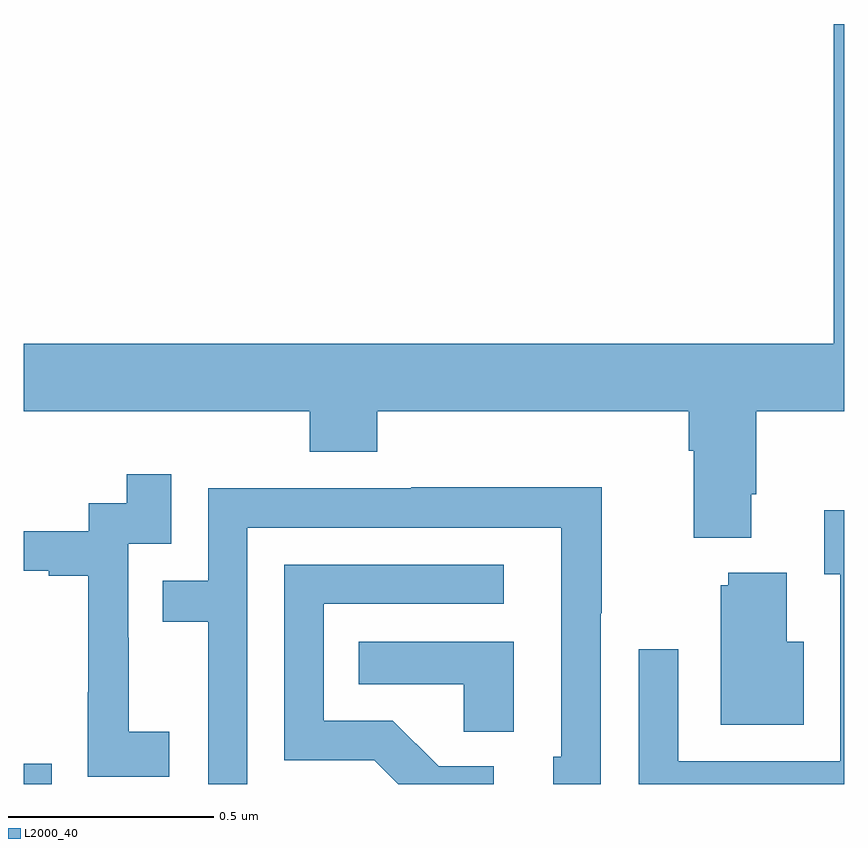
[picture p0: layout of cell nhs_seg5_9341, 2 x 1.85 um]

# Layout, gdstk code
import gdstk
lib = gdstk.Library(unit=1e-6, precision=1e-09)
def R(c, l, rs):  # rectangles x0, y0, x1, y1
    for r in rs: c.add(gdstk.rectangle(r[:2], r[2:], *l))
def P(c, l, *ps):  # polygons
    for p in ps: c.add(gdstk.Polygon(p, *l))
L2000_40 = (2000, 40)

nhs_seg5_9341 = lib.new_cell('nhs_seg5_9341')
R(nhs_seg5_9341, L2000_40, [(232,907.799,232.068,907.848)])
P(nhs_seg5_9341, L2000_40, [(233.773,908.506),(233.786,908.506),(233.786,908.708),(234,908.708),(234,909.652),(233.975,909.652),(233.975,908.872),(232,908.872),(232,908.708),(232.697,908.708),(232.697,908.609),(232.862,908.609),(232.862,908.708),(233.621,908.708),(233.621,908.612),(233.633,908.612),(233.633,908.399),(233.773,908.399)],
  [(232.354,907.927),(232.256,907.927),(232.256,908.156),(232.254,908.156),(232.254,908.385),(232.359,908.385),(232.359,908.554),(232.251,908.554),(232.251,908.484),(232.158,908.484),(232.158,908.415),(232,908.415),(232,908.319),(232.061,908.319),(232.061,908.307),(232.157,908.307),(232.157,908.023),(232.156,908.023),(232.156,907.817),(232.354,907.817)],
  [(232.545,908.424),(233.31,908.424),(233.31,907.866),(233.291,907.866),(233.291,907.799),(233.406,907.799),(233.406,908.215),(233.409,908.215),(233.409,908.522),(232.945,908.522),(232.945,908.52),(232.449,908.52),(232.449,908.295),(232.339,908.295),(232.339,908.194),(232.449,908.194),(232.449,907.799),(232.545,907.799)],
  [(234,908.467),(233.951,908.467),(233.951,908.311),(233.991,908.311),(233.991,907.854),(233.595,907.854),(233.595,908.128),(233.499,908.128),(233.499,907.799),(234,907.799)],
  [(233.146,907.842),(233.011,907.842),(232.9,907.953),(232.731,907.953),(232.731,908.238),(233.17,908.238),(233.17,908.334),(232.635,908.334),(232.635,907.857),(232.854,907.857),(232.913,907.799),(233.146,907.799)],
  [(233.902,908.146),(233.86,908.146),(233.86,908.314),(233.717,908.314),(233.717,908.283),(233.699,908.283),(233.699,907.943),(233.902,907.943)],
  [(233.194,908.146),(232.816,908.146),(232.816,908.042),(233.073,908.042),(233.073,907.927),(233.194,907.927)])

lib.write_gds('nhs_seg5_9341.gds')
